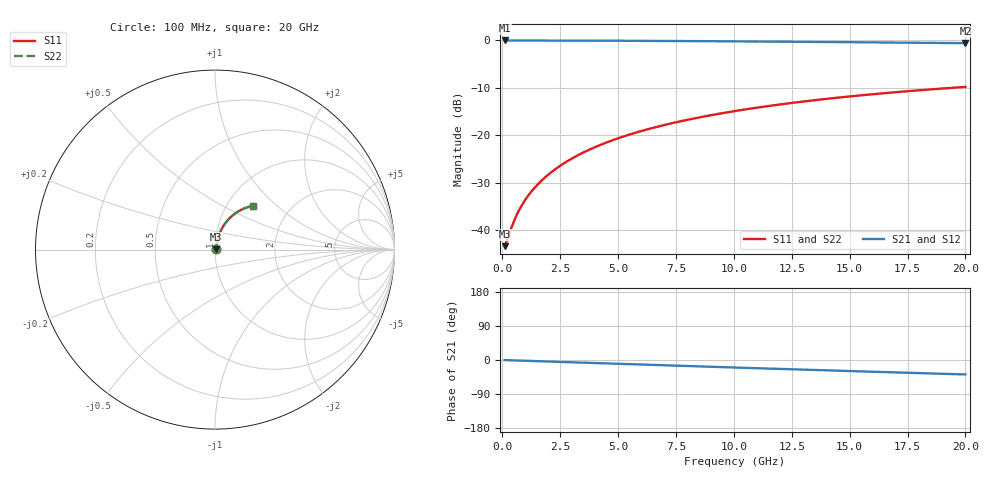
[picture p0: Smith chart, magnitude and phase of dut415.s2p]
! Touchstone file exported from HFSS 2026.1.0
!  File:  C:/ffzhzh/LocalFiles/Ansys_Project_Files/temp_train_TMRDL_415_1783005150_53980.aedt
!  Generated:  11:13:49 PM Jul  2, 2026
!  Design:  TMRDL
!  Project:  temp_train_TMRDL_415_1783005150_53980
! Variables:
!  h_bsmrdl = 2um
!  h_ox = 20um
!  h_rdl = 5um
!  h_sub = 80um
!  h_tmrdl = 2.39um
!  h_tsv = 80um
!  h_via = 3um
!  l_bsmrdl = 300um
!  l_sub = 988.06um
!  l_tmrdl = 588.06um
!  m_sub = 200um
!  pitch = 27.06um
!  r_tsv = 6um
!  s_tmrdl = 10um
!  w_bsmrdl = 18um
!  w_sub = 500um
!  w_tmrdl = 13.63um
!  x_tsv_center1 = 594.875um
!  x_tsv_center2 = 912.875um
!  x_tsv_center3 = 1514.565um
!  x_tsv_center4 = 1832.565um
!  x_tsv_center5 = 2434.255um
!  x_tsv_center6 = 2752.255um
# GHz S MA R 50.000000
! Terminal data exported
! Port[1] = TM_RDL1_1_T1
! Port[2] = TM_RDL1_1_T2
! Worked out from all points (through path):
!   200 points, 100 MHz to 20 GHz, reference 50 ohm
!   highest |S21| = -0.06 dB at 100 MHz (marker M1); lowest = -0.6 dB at 20 GHz (marker M2)
!   group delay of S21, straight-line fit = 5.3 ps
!   lowest |S11| = -43.3 dB at 100 MHz (marker M3), VSWR 1.01, Z = 50.7 + j0.212 ohm
!   |S11| at or under -10 dB: start of sweep to 19.47 GHz
!   |S22| runs from -43.3 to -9.8 dB; largest |S21 - S12| = 2e-15
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0.1  0.006835 17.9  0.9935 -0.2  0.9935 -0.2  0.006835 17.9
! Gamma 0 0 0 0
! Port Impedance 50 0 50 0
0.2  0.007821 32.2  0.9934 -0.4  0.9934 -0.4  0.007821 32.2
0.4  0.01077 49.5  0.9931 -0.9  0.9931 -0.9  0.01077 49.5
0.5  0.01244 54.5  0.9929 -1.1  0.9929 -1.1  0.01244 54.5
0.7  0.01589 60.9  0.9925 -1.5  0.9925 -1.5  0.01589 60.9
0.8  0.01763 63.2  0.9924 -1.7  0.9924 -1.7  0.01763 63.2
1  0.02112 66.5  0.9921 -2.1  0.9921 -2.1  0.02113 66.5
1.3  0.0264 69.7  0.9917 -2.7  0.9917 -2.7  0.0264 69.7
1.7  0.0335 72.3  0.9913 -3.5  0.9913 -3.5  0.0335 72.3
2.2  0.04247 74.1  0.9907 -4.5  0.9907 -4.5  0.04247 74.1
2.8  0.05331 75.0  0.99 -5.7  0.99 -5.7  0.05331 75.0
3.5  0.06599 75.2  0.989 -7.1  0.989 -7.1  0.06599 75.2
4.2  0.07865 74.9  0.9879 -8.5  0.9879 -8.5  0.07865 74.9
5  0.09303 74.2  0.9863 -10.0  0.9863 -10.0  0.09304 74.2
5.9  0.1091 73.1  0.9844 -11.8  0.9844 -11.8  0.1091 73.1
6.8  0.1249 71.8  0.9821 -13.6  0.9821 -13.6  0.1249 71.8
8.3  0.1508 69.4  0.9778 -16.5  0.9778 -16.5  0.1508 69.4
10.1  0.1808 66.3  0.9719 -20.0  0.9719 -20.0  0.1809 66.3
11.7  0.2065 63.6  0.9661 -23.0  0.9661 -23.0  0.2066 63.5
13.4  0.2327 60.6  0.9594 -26.2  0.9594 -26.2  0.2328 60.5
16.7  0.2801 54.8  0.9454 -32.3  0.9454 -32.3  0.2802 54.7
20  0.3228 49.2  0.9307 -38.1  0.9307 -38.1  0.3228 49.1
